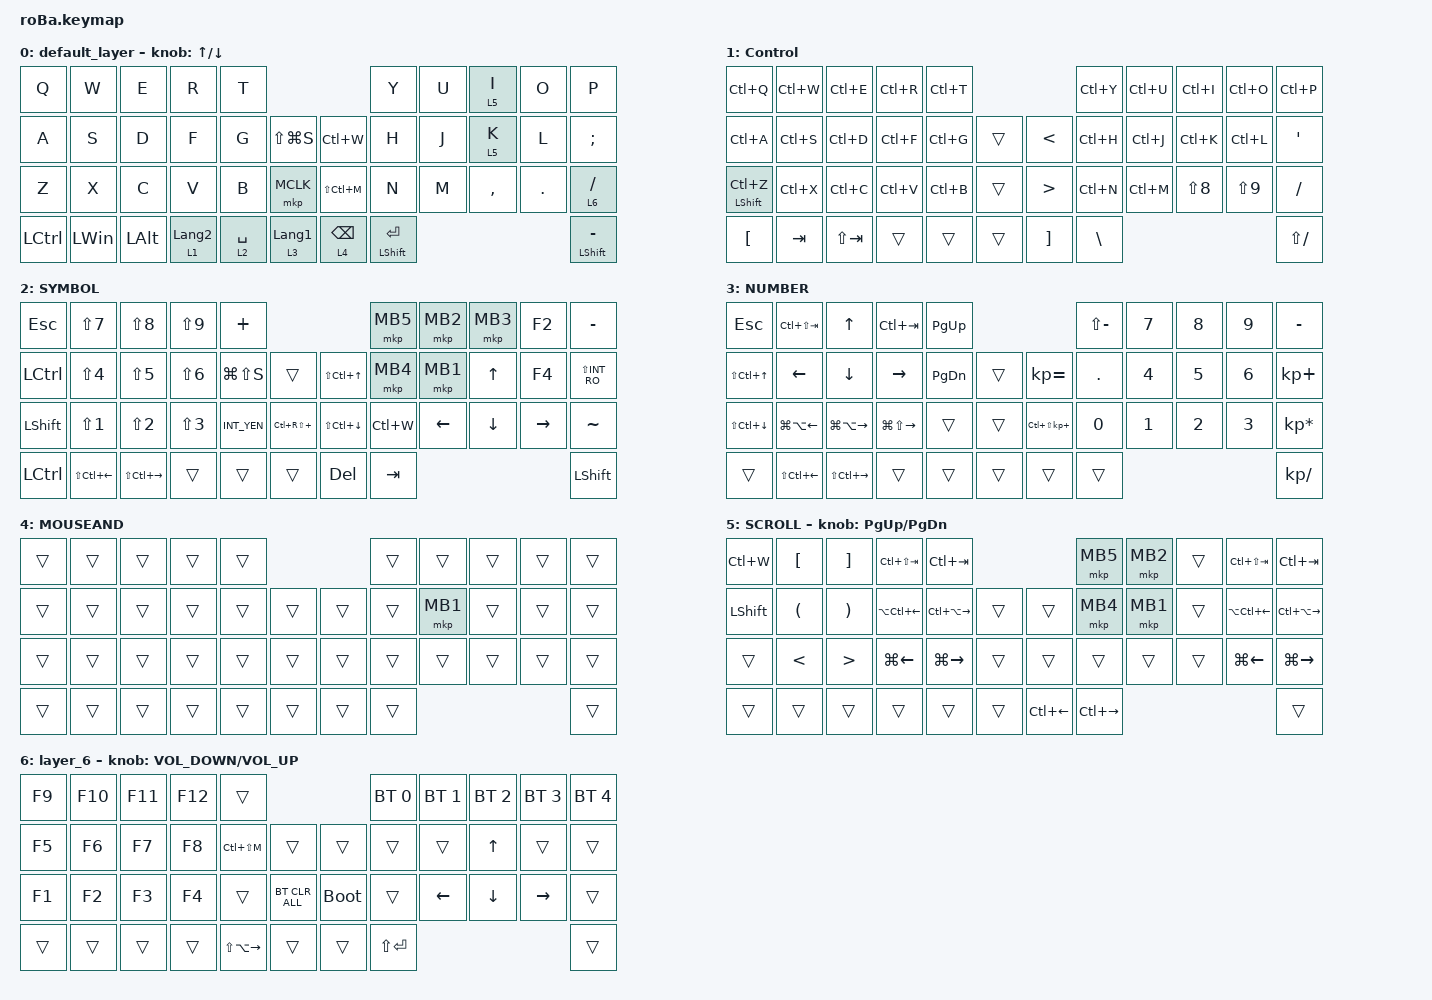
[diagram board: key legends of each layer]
#include <behaviors.dtsi>
#include <dt-bindings/zmk/bt.h>
#include <dt-bindings/zmk/keys.h>
#include <dt-bindings/zmk/pointing.h>

&mt {
    flavor = "balanced";
    quick-tap-ms = <0>;
    tapping-term-ms = <100>;
};

&trackball {
    automouse-layer = <4>;
    scroll-layers = <5>;

    // arrows {
    //     layers = <3>;
    //     bindings =
    //         <&kp RIGHT_ARROW>,
    //         <&kp LEFT_ARROW>,
    //         <&kp UP_ARROW>,
    //         <&kp DOWN_ARROW>;
    //     tick = <10>;
    //     wait-ms = <5>;
    //     tap-ms = <5>;
    // };
};

/ {
    combos {
        compatible = "zmk,combos";

        tab {
            bindings = <&kp TAB>;
            key-positions = <11 12>;
        };

        shift_tab {
            bindings = <&kp LS(TAB)>;
            key-positions = <12 13>;
        };

        muhennkann {
            bindings = <&to_layer_0 INT_MUHENKAN>;
            key-positions = <11 10>;
        };

        double_quotation {
            bindings = <&kp DOUBLE_QUOTES>;
            key-positions = <20 21>;
        };

        eq {
            bindings = <&kp EQUAL>;
            key-positions = <24 25>;
        };

        WindowChange {
            bindings = <&kp LA(TAB)>;
            key-positions = <2 1>;
        };
    };

    macros {
        to_layer_0: to_layer_0 {
            compatible = "zmk,behavior-macro-one-param";
            #binding-cells = <1>;
            bindings = <&to 0 &macro_param_1to1 &kp MACRO_PLACEHOLDER>;
            label = "TO_LAYER_0";
        };
    };

    behaviors {
        lt_to_layer_0: lt_to_layer_0 {
            compatible = "zmk,behavior-hold-tap";
            label = "LAYER_TAP_TO_0";
            bindings = <&mo>, <&to_layer_0>;

            #binding-cells = <2>;
            tapping-term-ms = <50>;
        };
    };

    keymap {
        compatible = "zmk,keymap";

        default_layer {
            bindings = <
&kp Q             &kp W         &kp E         &kp R             &kp T                                               &kp Y                 &kp U  &lt 5 I    &kp O    &kp P
&kp A             &kp S         &kp D         &kp F             &kp G        &kp LS(LG(S))         &kp LC(W)        &kp H                 &kp J  &lt 5 K    &kp L    &kp SEMI
&kp Z             &kp X         &kp C         &kp V             &kp B        &mkp MCLK             &kp LS(LC(M))    &kp N                 &kp M  &kp COMMA  &kp DOT  &lt 6 SLASH
&kp LEFT_CONTROL  &kp LEFT_WIN  &kp LEFT_ALT  &lt 1 LANGUAGE_2  &lt 2 SPACE  &lt 3 LANGUAGE_1      &lt 4 BACKSPACE  &mt LEFT_SHIFT ENTER                             &mt LEFT_SHIFT MINUS
            >;

            sensor-bindings = <&inc_dec_kp UP_ARROW DOWN_ARROW>;
        };

        Control {
            bindings = <
&kp LC(Q)             &kp LC(W)  &kp LC(E)    &kp LC(R)  &kp LC(T)                                 &kp LC(Y)      &kp LC(U)  &kp LC(I)   &kp LC(O)   &kp LC(P)
&kp LC(A)             &kp LC(S)  &kp LC(D)    &kp LC(F)  &kp LC(G)  &trans      &kp LESS_THAN      &kp LC(H)      &kp LC(J)  &kp LC(K)   &kp LC(L)   &kp SINGLE_QUOTE
&mt LEFT_SHIFT LC(Z)  &kp LC(X)  &kp LC(C)    &kp LC(V)  &kp LC(B)  &trans      &kp GREATER_THAN   &kp LC(N)      &kp LC(M)  &kp LS(N8)  &kp LS(N9)  &kp SLASH
&kp LEFT_BRACKET      &kp TAB    &kp LS(TAB)  &trans     &trans     &trans      &kp RIGHT_BRACKET  &kp BACKSLASH                                     &kp LS(SLASH)
            >;
        };

        SYMBOL {
            bindings = <
&kp ESCAPE        &kp LS(N7)              &kp LS(N8)               &kp LS(N9)  &kp PLUS                                                     &mkp MB5   &mkp MB2        &mkp MB3        &kp F2           &kp MINUS
&kp LCTRL         &kp LS(N4)              &kp LS(N5)               &kp LS(N6)  &kp LG(LS(S))  &trans                &kp LS(LC(UP_ARROW))    &mkp MB4   &mkp MB1        &kp UP_ARROW    &kp F4           &kp LS(INT_RO)
&kp LEFT_SHIFT    &kp LS(N1)              &kp LS(N2)               &kp LS(N3)  &kp INT_YEN    &kp LC(RS(PLUS))      &kp LS(LC(DOWN_ARROW))  &kp LC(W)  &kp LEFT_ARROW  &kp DOWN_ARROW  &kp RIGHT_ARROW  &kp TILDE
&kp LEFT_CONTROL  &kp LS(LC(LEFT_ARROW))  &kp LS(LC(RIGHT_ARROW))  &trans      &trans         &trans                &kp DEL                 &kp TAB                                                     &kp LEFT_SHIFT
            >;
        };

        NUMBER {
            bindings = <
&kp ESCAPE              &kp LC(LS(TAB))         &kp UP_ARROW             &kp LC(TAB)              &kp PAGE_UP                                     &kp LS(MINUS)  &kp NUMBER_7  &kp NUMBER_8  &kp NUMBER_9  &kp MINUS
&kp LS(LC(UP_ARROW))    &kp LEFT_ARROW          &kp DOWN_ARROW           &kp RIGHT_ARROW          &kp PAGE_DOWN  &trans      &kp KP_EQUAL         &kp PERIOD     &kp NUMBER_4  &kp N5        &kp NUMBER_6  &kp KP_PLUS
&kp LS(LC(DOWN_ARROW))  &kp LG(LA(LEFT_ARROW))  &kp LG(LA(RIGHT_ARROW))  &kp LG(LS(RIGHT_ARROW))  &trans         &trans      &kp LC(LS(KP_PLUS))  &kp NUMBER_0   &kp NUMBER_1  &kp NUMBER_2  &kp NUMBER_3  &kp KP_ASTERISK
&trans                  &kp LS(LC(LEFT_ARROW))  &kp LS(LC(RIGHT_ARROW))  &trans                   &trans         &trans      &trans               &trans                                                   &kp KP_DIVIDE
            >;
        };

        MOUSEAND {
            bindings = <
&trans  &trans  &trans  &trans  &trans                      &trans  &trans    &trans  &trans  &trans
&trans  &trans  &trans  &trans  &trans  &trans      &trans  &trans  &mkp MB1  &trans  &trans  &trans
&trans  &trans  &trans  &trans  &trans  &trans      &trans  &trans  &trans    &trans  &trans  &trans
&trans  &trans  &trans  &trans  &trans  &trans      &trans  &trans                            &trans
            >;
        };

        SCROLL {
            bindings = <
&kp LC(W)       &kp LEFT_BRACKET      &kp RIGHT_BRACKET      &kp LC(LS(TAB))         &kp LC(TAB)                                              &mkp MB5             &mkp MB2  &trans  &kp LC(LS(TAB))         &kp LC(TAB)
&kp LEFT_SHIFT  &kp LEFT_PARENTHESIS  &kp RIGHT_PARENTHESIS  &kp LA(LC(LEFT_ARROW))  &kp LC(LA(RIGHT_ARROW))  &trans      &trans              &mkp MB4             &mkp MB1  &trans  &kp LA(LC(LEFT_ARROW))  &kp LC(LA(RIGHT_ARROW))
&trans          &kp LESS_THAN         &kp GREATER_THAN       &kp LG(LEFT_ARROW)      &kp LG(RIGHT_ARROW)      &trans      &trans              &trans               &trans    &trans  &kp LG(LEFT_ARROW)      &kp LG(RIGHT_ARROW)
&trans          &trans                &trans                 &trans                  &trans                   &trans      &kp LC(LEFT_ARROW)  &kp LC(RIGHT_ARROW)                                            &trans
            >;

            sensor-bindings = <&inc_dec_kp PAGE_UP PAGE_DOWN>;
        };

        layer_6 {
            bindings = <
&kp F9  &kp F10  &kp F11  &kp F12  &trans                                                    &bt BT_SEL 0   &bt BT_SEL 1    &bt BT_SEL 2    &bt BT_SEL 3     &bt BT_SEL 4
&kp F5  &kp F6   &kp F7   &kp F8   &kp LC(LS(M))            &trans              &trans       &trans         &trans          &kp UP_ARROW    &trans           &trans
&kp F1  &kp F2   &kp F3   &kp F4   &trans                   &bt BT_CLR_ALL      &bootloader  &trans         &kp LEFT_ARROW  &kp DOWN_ARROW  &kp RIGHT_ARROW  &trans
&trans  &trans   &trans   &trans   &kp LS(LA(RIGHT_ARROW))  &trans              &trans       &kp LS(ENTER)                                                   &trans
            >;

            sensor-bindings = <&inc_dec_kp C_VOLUME_DOWN C_VOLUME_UP>;
        };
    };
};
